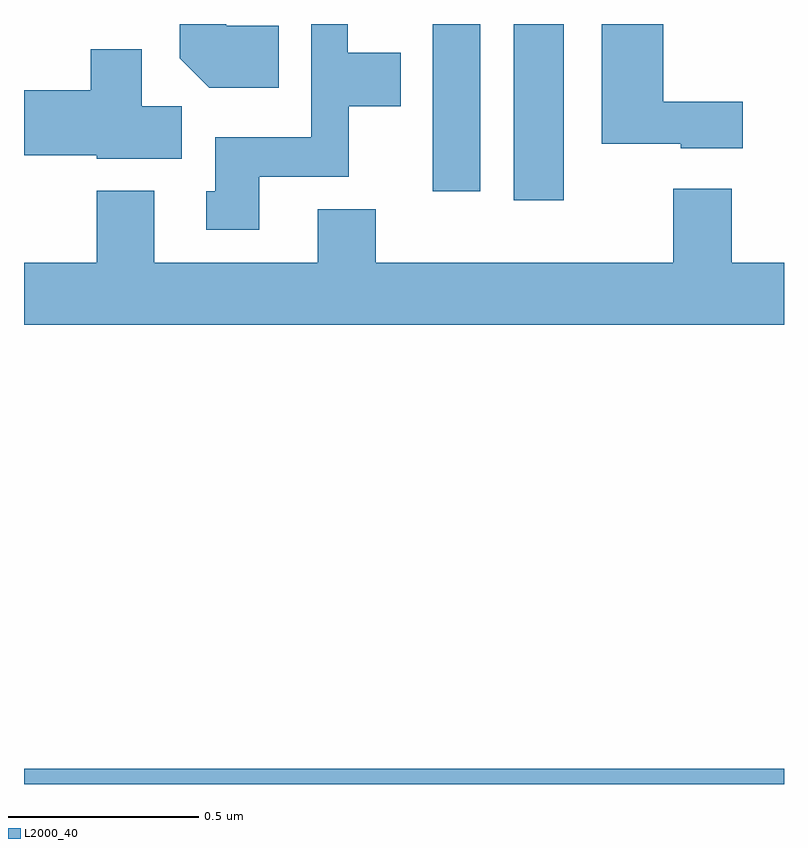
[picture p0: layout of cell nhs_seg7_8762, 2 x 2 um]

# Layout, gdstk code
import gdstk
lib = gdstk.Library(unit=1e-6, precision=1e-09)
def R(c, l, rs):  # rectangles x0, y0, x1, y1
    for r in rs: c.add(gdstk.rectangle(r[:2], r[2:], *l))
def P(c, l, *ps):  # polygons
    for p in ps: c.add(gdstk.Polygon(p, *l))
L2000_40 = (2000, 40)

nhs_seg7_8762 = lib.new_cell('nhs_seg7_8762')
R(nhs_seg7_8762, L2000_40, [(228,1074,230,1074.04), (229.289,1075.536,229.42,1076), (229.076,1075.56,229.201,1076)])
P(nhs_seg7_8762, L2000_40, [(228.671,1075.996),(228.532,1075.996),(228.532,1076),(228.41,1076),(228.41,1075.91),(228.488,1075.832),(228.671,1075.832)],
  [(228.619,1075.598),(228.855,1075.598),(228.855,1075.784),(228.991,1075.784),(228.991,1075.924),(228.852,1075.924),(228.852,1076),(228.756,1076),(228.756,1075.702),(228.503,1075.702),(228.503,1075.56),(228.479,1075.56),(228.479,1075.458),(228.619,1075.458)],
  [(229.891,1075.795),(229.682,1075.795),(229.682,1075.999),(229.52,1075.999),(229.52,1075.685),(229.728,1075.685),(229.728,1075.673),(229.891,1075.673)],
  [(228.415,1075.784),(228.31,1075.784),(228.31,1075.933),(228.176,1075.933),(228.176,1075.826),(228,1075.826),(228,1075.655),(228.192,1075.655),(228.192,1075.646),(228.415,1075.646)],
  [(230,1075.372),(229.862,1075.372),(229.862,1075.567),(229.709,1075.567),(229.709,1075.372),(228.926,1075.372),(228.926,1075.513),(228.773,1075.513),(228.773,1075.372),(228.343,1075.372),(228.343,1075.561),(228.191,1075.561),(228.191,1075.372),(228,1075.372),(228,1075.208),(230,1075.208)])

lib.write_gds('nhs_seg7_8762.gds')
